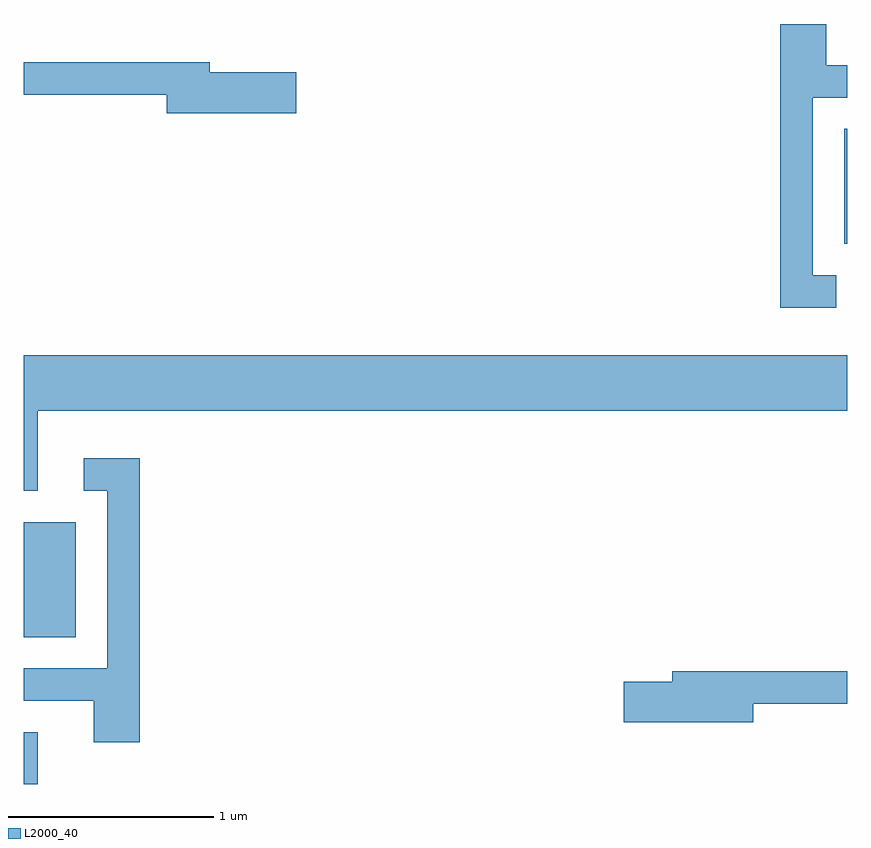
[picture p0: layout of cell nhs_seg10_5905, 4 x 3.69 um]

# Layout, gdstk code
import gdstk
lib = gdstk.Library(unit=1e-6, precision=1e-09)
def R(c, l, rs):  # rectangles x0, y0, x1, y1
    for r in rs: c.add(gdstk.rectangle(r[:2], r[2:], *l))
def P(c, l, *ps):  # polygons
    for p in ps: c.add(gdstk.Polygon(p, *l))
L2000_40 = (2000, 40)

nhs_seg10_5905 = lib.new_cell('nhs_seg10_5905')
R(nhs_seg10_5905, L2000_40, [(359.611,2136.522,359.679,2136.774), (359.611,2137.236,359.864,2137.794), (363.596,2139.146,363.611,2139.704)])
P(nhs_seg10_5905, L2000_40, [(363.558,2138.994),(363.444,2138.994),(363.444,2139.856),(363.611,2139.856),(363.611,2140.014),(363.509,2140.014),(363.509,2140.214),(363.286,2140.214),(363.286,2138.836),(363.558,2138.836)],
  [(360.934,2139.979),(360.514,2139.979),(360.514,2140.029),(359.611,2140.029),(359.611,2139.871),(360.306,2139.871),(360.306,2139.781),(360.934,2139.781)],
  [(359.679,2138.336),(363.611,2138.336),(363.611,2138.604),(359.611,2138.604),(359.611,2137.946),(359.679,2137.946)],
  [(360.174,2138.104),(359.903,2138.104),(359.903,2137.946),(360.016,2137.946),(360.016,2137.084),(359.611,2137.084),(359.611,2136.926),(359.951,2136.926),(359.951,2136.726),(360.174,2136.726)],
  [(363.154,2136.911),(363.611,2136.911),(363.611,2137.069),(362.761,2137.069),(362.761,2137.019),(362.526,2137.019),(362.526,2136.821),(363.154,2136.821)])

lib.write_gds('nhs_seg10_5905.gds')
